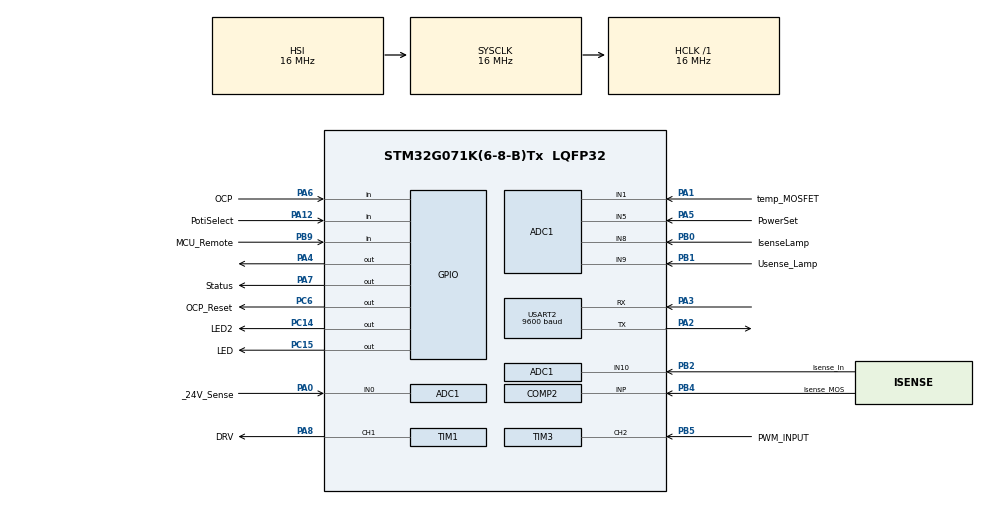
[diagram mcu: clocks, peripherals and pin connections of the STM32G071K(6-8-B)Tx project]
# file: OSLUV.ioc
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ADC1.Channel-0\#ChannelRegularConversion=ADC_CHANNEL_5
ADC1.Channel-1\#ChannelRegularConversion=ADC_CHANNEL_1
ADC1.Channel-2\#ChannelRegularConversion=ADC_CHANNEL_8
ADC1.Channel-3\#ChannelRegularConversion=ADC_CHANNEL_9
ADC1.Channel-4\#ChannelRegularConversion=ADC_CHANNEL_10
ADC1.Channel-5\#ChannelRegularConversion=ADC_CHANNEL_0
ADC1.ClockPrescaler=ADC_CLOCK_ASYNC_DIV10
ADC1.ContinuousConvMode=ENABLE
ADC1.DMAContinuousRequests=ENABLE
ADC1.ExternalTrigConv=ADC_EXTERNALTRIG_T6_TRGO
ADC1.NbrOfConversion=6
ADC1.NbrOfConversionFlag=1
ADC1.Rank-0\#ChannelRegularConversion=1
ADC1.Rank-1\#ChannelRegularConversion=2
ADC1.Rank-2\#ChannelRegularConversion=3
ADC1.Rank-3\#ChannelRegularConversion=4
ADC1.Rank-4\#ChannelRegularConversion=5
ADC1.Rank-5\#ChannelRegularConversion=6
ADC1.SamplingTime-0\#ChannelRegularConversion=ADC_SAMPLINGTIME_COMMON_1
ADC1.SamplingTime-1\#ChannelRegularConversion=ADC_SAMPLINGTIME_COMMON_1
ADC1.SamplingTime-2\#ChannelRegularConversion=ADC_SAMPLINGTIME_COMMON_1
ADC1.SamplingTime-3\#ChannelRegularConversion=ADC_SAMPLINGTIME_COMMON_1
ADC1.SamplingTime-4\#ChannelRegularConversion=ADC_SAMPLINGTIME_COMMON_1
ADC1.SamplingTime-5\#ChannelRegularConversion=ADC_SAMPLINGTIME_COMMON_1
ADC1.SamplingTimeCommon1=ADC_SAMPLETIME_39CYCLES_5
ADC1.SamplingTimeCommon2=ADC_SAMPLETIME_39CYCLES_5
ADC1.SelectedChannel=ADC_CHANNEL_0|ADC_CHANNEL_1|ADC_CHANNEL_5|ADC_CHANNEL_8|ADC_CHANNEL_9|ADC_CHANNEL_10
ADC1.master=1
DAC1.DAC_Channel-DAC_OUT1_Int=DAC_CHANNEL_1
Dma.ADC1.0.Direction=DMA_PERIPH_TO_MEMORY
Dma.ADC1.0.EventEnable=DISABLE
Dma.ADC1.0.Instance=DMA1_Channel1
Dma.ADC1.0.MemDataAlignment=DMA_MDATAALIGN_HALFWORD
Dma.ADC1.0.MemInc=DMA_MINC_ENABLE
Dma.ADC1.0.Mode=DMA_CIRCULAR
Dma.ADC1.0.PeriphDataAlignment=DMA_PDATAALIGN_HALFWORD
Dma.ADC1.0.PeriphInc=DMA_PINC_DISABLE
Dma.ADC1.0.Polarity=HAL_DMAMUX_REQ_GEN_RISING
Dma.ADC1.0.Priority=DMA_PRIORITY_LOW
Dma.ADC1.0.RequestNumber=1
Dma.ADC1.0.SignalID=NONE
Dma.ADC1.0.SyncEnable=DISABLE
Dma.ADC1.0.SyncPolarity=HAL_DMAMUX_SYNC_NO_EVENT
Dma.ADC1.0.SyncRequestNumber=1
Dma.ADC1.0.SyncSignalID=NONE
Dma.Request0=ADC1
Mcu.Family=STM32G0
Mcu.Name=STM32G071K(6-8-B)Tx
Mcu.Package=LQFP32
NVIC.ADC1_COMP_IRQn=true\:0\:0\:false\:true\:true\:2\:true\:true\:true
NVIC.DMA1_Channel1_IRQn=true\:0\:0\:false\:false\:true\:false\:true\:true
NVIC.TIM16_IRQn=true\:0\:0\:false\:false\:true\:true\:true\:true
NVIC.TIM3_IRQn=true\:0\:0\:false\:true\:true\:4\:true\:true\:true
NVIC.TIM6_DAC_LPTIM1_IRQn=true\:0\:0\:false\:true\:true\:1\:true\:true\:true
NVIC.USART2_IRQn=true\:0\:0\:false\:false\:true\:true\:true\:true
PA0.GPIO_Label=_24V_Sense
PA0.Mode=IN0
PA0.Signal=ADC1_IN0
PA1.GPIO_Label=temp_MOSFET
PA1.Mode=IN1
PA1.Signal=ADC1_IN1
PA12\ [PA10].GPIO_Label=PotiSelect
PA12\ [PA10].Signal=GPIO_Input
PA13.Mode=Serial_Wire
PA13.Signal=SYS_SWDIO
PA14-BOOT0.Mode=Serial_Wire
PA14-BOOT0.Signal=SYS_SWCLK
PA2.Mode=Asynchronous
PA2.Signal=USART2_TX
PA3.Mode=Asynchronous
PA3.Signal=USART2_RX
PA4.Signal=GPIO_Output
PA5.GPIO_Label=PowerSet
PA5.Mode=IN5
PA5.Signal=ADC1_IN5
PA6.GPIO_Label=OCP
PA6.Signal=GPIO_Input
PA7.GPIO_Label=Status
PA7.Signal=GPIO_Output
PA8.GPIO_Label=DRV
PA8.GPIO_Speed=GPIO_SPEED_FREQ_VERY_HIGH
PA8.Signal=S_TIM1_CH1
PB0.GPIO_Label=IsenseLamp
PB0.Mode=IN8
PB0.Signal=ADC1_IN8
PB1.GPIO_Label=Usense_Lamp
PB1.Mode=IN9
PB1.Signal=ADC1_IN9
PB2.GPIO_Label=Isense_In
PB2.Mode=IN10
PB2.Signal=ADC1_IN10
PB4.GPIO_Label=Isense_MOS
PB4.Mode=INP
PB4.Signal=COMP2_INP
PB5.GPIO_Label=PWM_INPUT
PB5.Signal=S_TIM3_CH2
PB9.GPIO_Label=MCU_Remote
PB9.GPIO_PuPd=GPIO_PULLUP
PB9.Signal=GPIO_Input
PC14-OSC32_IN\ (PC14).GPIO_Label=LED2
PC14-OSC32_IN\ (PC14).Signal=GPIO_Output
PC15-OSC32_OUT\ (PC15).GPIO_Label=LED
PC15-OSC32_OUT\ (PC15).PinState=GPIO_PIN_RESET
PC15-OSC32_OUT\ (PC15).Signal=GPIO_Output
PC6.GPIO_Label=OCP_Reset
PC6.Signal=GPIO_Output
ProjectManager.HeapSize=0x200
ProjectManager.StackSize=0x400
ProjectManager.TargetToolchain=STM32CubeIDE
RCC.ADCCLockSelection=RCC_ADCCLKSOURCE_PLLADC
RCC.ADCFreq_Value=16000000
RCC.AHBFreq_Value=16000000
RCC.CortexFreq_Value=16000000
RCC.EXTERNAL_CLOCK_VALUE=48000
RCC.HCLKFreq_Value=16000000
RCC.HSE_VALUE=8000000
RCC.HSI_VALUE=16000000
RCC.LSE_VALUE=32768
RCC.PLLP=RCC_PLLP_DIV8
RCC.PLLQ=RCC_PLLQ_DIV8
RCC.SYSCLKFreq_VALUE=16000000
RCC.VCOOutputFreq_Value=128000000
SH.S_TIM1_CH1.0=TIM1_CH1,PWM Generation1 CH1
SH.S_TIM3_CH2.0=TIM3_CH2,PWM_Input_2
TIM1.AutoReloadPreload=TIM_AUTORELOAD_PRELOAD_ENABLE
TIM1.Channel-PWM\ Generation1\ CH1=TIM_CHANNEL_1
TIM1.ClearChannel1=TIM_CHANNEL_1
TIM1.ClearInputSource=TIM_CLEARINPUTSOURCE_COMP2
TIM1.Period=320
TIM16.Period=65535
TIM3.ICPolarity_1=TIM_INPUTCHANNELPOLARITY_FALLING
TIM6.Period=1000
TIM6.Prescaler=16
TIM6.TIM_MasterOutputTrigger=TIM_TRGO_UPDATE
USART2.BaudRate=9600
USART2.VirtualMode-Asynchronous=VM_ASYNC
VP_COMP2_VS_DACOUT1.Mode=INM_DACOUT1
VP_DAC1_VS_DACI1.Mode=DAC_OUT1_Int
VP_TIM16_VS_ClockSourceINT.Mode=Enable_Timer
VP_TIM6_VS_ClockSourceINT.Mode=Enable_Timer
board=custom

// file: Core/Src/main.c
/* USER CODE BEGIN Header */
/**
 ******************************************************************************
 * @file           : main.c
 * @brief          : Main program body
 ******************************************************************************
 * @attention
 *
 * Copyright (c) 2025 STMicroelectronics.
 * All rights reserved.
 *
 * This software is licensed under terms that can be found in the LICENSE file
 * in the root directory of this software component.
 * If no LICENSE file comes with this software, it is provided AS-IS.
 *
 ******************************************************************************
 */
/* USER CODE END Header */
#include "main.h"

/* USER CODE BEGIN Includes */
#include "globals.h" // global variables
#include "eeprom_emul.h" // store dim variable to flash
#include "stdlib.h"
#include "stdio.h"
#include "string.h"

/* USER CODE END Includes */

/* USER CODE BEGIN PD */
#define enableUART 1
#define RX_BUFFER_SIZE 10
#define FREQ_MIN 10
#define FREQ_MAX 200
#define ARR_MAX 1000
#define ARR_MIN 60
#define CCR_MAX 80
#define CCR_MIN 20
#define PC_MAX 530
#define PC_MIN 250
#define TMR_COUNTER 16000
#define UART_DELAY 10
#define POWER_MIN 10
#define POWER_MAX 105

#define MIN_IGNITION_TIME 1000 // 1000 ms
#define maxIgnitionTime 2000 // 2000 ms
#define ULAMP_MAX 1100 // for open circuit detection / not used
#define ILAMP_IGNITED 600 //

#define UPPER_24VSUPPLY 3160 // 27V
#define LOWER_24VSUPPLY 2080 // 18V
#define USBC_SUPPLY 2500 // 21 V
#define UPPER_TEMP_MOSFET 500 // 400 mV = ca. 75 °C
#define UPPER_I_IN 2600

#define FOSC 16000 // 16 MHz
#define ditherRange_kHz 20 // 10 kHz

#define dutyIgnStart 60
#define DUTY_IGN_MAX 110 // 5.5 kV
#define ignAmpltiudeStep 16

#define primInductance 20
#define peakCurrentControl 1
#define freqDithering 0

#define STORE_DIM 1

/* USER CODE END PD */

ADC_HandleTypeDef hadc1;
DMA_HandleTypeDef hdma_adc1;

COMP_HandleTypeDef hcomp2;

DAC_HandleTypeDef hdac1;

TIM_HandleTypeDef htim1;
TIM_HandleTypeDef htim3;
TIM_HandleTypeDef htim6;
TIM_HandleTypeDef htim16;

UART_HandleTypeDef huart2;

/* USER CODE BEGIN PV */
typedef enum {INIT, RUN, IGNITE, IGN_FAIL, ERROR_state } system_state_t;
static system_state_t state =  INIT;
static system_state_t lastState =  ERROR_state;

//enum States {INIT, RUN, IGNITE, IGN_FAIL, ERROR_state};

volatile uint32_t arr_buffer;

//
volatile uint8_t interrupt1msState_flag = 0;

volatile uint16_t ignFrequency = 320; // 58 kHz
volatile uint16_t operationFrequency = 0;
volatile uint16_t operationFrequencyARR = 0; // 100 kHz // 164
volatile uint16_t operationFrequencyARR_raw = 160; //190 / 160 / 135 / 97 valley
volatile uint16_t currentFrequency = 0;
volatile uint16_t dac_IsenseMOS_ign = 1000; // current setpoint for ignition = off

volatile uint16_t dutyIgn;
volatile uint16_t dac_IsenseMOS; // current setpoint for COMP2 in- for closed loop
volatile uint16_t chargeTimeOperation; // duty cycle for operation open loop, optimized 78 für 26 uH, 80 für 33u

volatile uint16_t externalPowerSetDuty = 0;
volatile uint16_t externalPowerSetDutyCalc = 0;

char uart_rx_buffer[RX_BUFFER_SIZE];
char uart_rx_buffer_stripped[RX_BUFFER_SIZE];
uint8_t uart_index = 0;
uint8_t uart_rx_byte;
char msg[60];

int value = 0;
uint8_t uartEnableFlag = 1;
uint8_t powerLevel = 100; // linear dimming steps: 100 = full power, 15 = 15% power
uint32_t potiPowerLevel = 100;
// power setting by frequency control 0 - 105%, minimal power is 15% = 20 kHz
uint16_t freqPowerSetting[106] = { 1146, 1146, 1146, 1146, 1146, 1146, 1146,
		1146, 1146, 1146, 1065, 995, 934, 879, 831, 788, 750, 715, 683, 654,
		627, 603, 580, 559, 540, 522, 505, 489, 474, 460, 447, 435, 423, 412,
		402, 392, 382, 374, 365, 357, 349, 342, 335, 328, 321, 315, 309, 303,
		298, 293, 287, 283, 278, 273, 269, 265, 260, 256, 253, 249, 245, 242,
		238, 235, 232, 229, 226, 223, 220, 217, 214, 212, 209, 207, 204, 202,
		200, 197, 195, 193, 191, 189, 187, 185, 183, 181, 179, 178, 176, 174,
		172, 171, 169, 168, 166, 165, 163, 162, 160, 159, 158, 156, 155, 154,
		152, 151 };

uint16_t ignitionCounter = 0;
uint8_t ignitionFinishedFlag = 0;
uint16_t ignAmplitudeCounter = 0;
uint8_t lampOnFlag = 0;
uint16_t dutyIgnMax = DUTY_IGN_MAX;

uint16_t adc_uSenseLampIgnited = 1800;

uint16_t delayFailedIgnitionShort = 3000;
uint16_t delayFailedIgnitionLong = 30000;
uint16_t delayFailedIgnitionSelected = 0;
uint16_t failedIgnitionCounter = 0;
uint8_t maxIgnitionAttempts = 16;
uint16_t pauseIgnitionCounter = 0;

uint16_t adc_uSenseLampOpenCircuit = 2300;
uint8_t lampOCFlag = 0;

uint8_t i_ADCchannels = 0;

uint16_t ditherCounter = 0;
uint8_t ditherMode = freqDithering;

uint8_t storeDim_flag = STORE_DIM;

/* USER CODE END PV */

void SystemClock_Config(void);
static void MX_GPIO_Init(void);
static void MX_DMA_Init(void);
static void MX_ADC1_Init(void);
static void MX_COMP2_Init(void);
static void MX_DAC1_Init(void);
static void MX_TIM1_Init(void);
static void MX_TIM3_Init(void);
static void MX_TIM16_Init(void);
static void MX_USART2_UART_Init(void);
static void MX_TIM6_Init(void);
static void MX_NVIC_Init(void);

/* USER CODE BEGIN 0 */

void changeFrequency(uint16_t powerSettingRaw) {
	uint16_t powerSetting = 0;

	if (powerSettingRaw < POWER_MIN) {
		powerSetting = POWER_MIN;
	} else if (powerSettingRaw > POWER_MAX) {
		powerSetting = POWER_MAX;
	} else
		powerSetting = powerSettingRaw;

	operationFrequencyARR_raw = freqPowerSetting[powerSetting];

	return;
}

void HAL_UART_RxCpltCallback(UART_HandleTypeDef *huart) {

	if (huart->Instance == USART2) {

		if (uart_rx_byte == '\n' || uart_rx_byte == '\r')  // End of input
		{
			uart_rx_buffer[uart_index] = '\0';

			char cmd = uart_rx_buffer[0];
			char *dataPtr = &uart_rx_buffer[1];
			switch (cmd) {
			case 'F': // Change frequency
				if (*dataPtr == '?') { //report frequency
					operationFrequency =
							(uint16_t) ((TMR_COUNTER + operationFrequencyARR / 2)
									/ operationFrequencyARR);
					snprintf(msg, sizeof(msg), "Freq:%d kHz ARR:%d\r\n",
							operationFrequency, operationFrequencyARR_raw);
					HAL_UART_Transmit(&huart2, (uint8_t*) msg, strlen(msg),
							UART_DELAY);
				} else {
					value = atoi(dataPtr);
					if (value >= FREQ_MIN && value <= FREQ_MAX) { // limit frequency to between 10 - 120 kHz
						operationFrequencyARR_raw = (uint16_t) ((TMR_COUNTER
								+ value / 2) / value);
						snprintf(msg, sizeof(msg), "Freq:%d kHz ARR:%d\r\n",
								value, operationFrequencyARR_raw);
						HAL_UART_Transmit(&huart2, (uint8_t*) msg, strlen(msg),
								UART_DELAY);
					}
				}
				break;

			case 'O': // Change frequency dither mode
				if (*dataPtr == '?') { //report dither mode
					snprintf(msg, sizeof(msg), "Dither Mode: %d\r\n",
							ditherMode);
					HAL_UART_Transmit(&huart2, (uint8_t*) msg, strlen(msg),
							UART_DELAY);
				} else {
					value = atoi(dataPtr);
					if (value < 2) {
						ditherMode = value;
					}
				}
				break;

			case 'A': // Change ARR directly -> frequency
				if (*dataPtr == '?') { //report ARR value
					operationFrequency =
							(uint16_t) ((TMR_COUNTER + operationFrequencyARR / 2)
									/ operationFrequencyARR);
					snprintf(msg, sizeof(msg), "ARR: %d Freq: %d\r\n",
							operationFrequencyARR_raw, operationFrequency);
					HAL_UART_Transmit(&huart2, (uint8_t*) msg, strlen(msg),
							UART_DELAY);
				} else {
					value = atoi(dataPtr);
					if (value >= ARR_MIN && value <= ARR_MAX) { // limit frequency to between 10 - 120 kHz
						operationFrequencyARR_raw = value;
						snprintf(msg, sizeof(msg), "ARR: %d Freq: %d\r\n",
								value, operationFrequencyARR_raw);
						HAL_UART_Transmit(&huart2, (uint8_t*) msg, strlen(msg),
								UART_DELAY);
					}
				}
				break;

			case 'C': // change CCR -> charge time
				if (*dataPtr == '?') { //report CCR value
					snprintf(msg, sizeof(msg), "Charge: %d\r\n",
							chargeTimeOperation);
					HAL_UART_Transmit(&huart2, (uint8_t*) msg, strlen(msg),
							UART_DELAY);
				} else {
					value = atoi(dataPtr);
					if (value >= CCR_MIN && value <= CCR_MAX) { // limit charge time to between 3 - 5 µs
						chargeTimeOperation = value;
						snprintf(msg, sizeof(msg), "Charge: %d\r\n",
								chargeTimeOperation);
						HAL_UART_Transmit(&huart2, (uint8_t*) msg, strlen(msg),
								UART_DELAY);
					}
				}
				break;

			case 'I': // change current limit
				if (*dataPtr == '?') { //report current limit
					snprintf(msg, sizeof(msg), "Peak current: %d\r\n",
							dac_IsenseMOS);
					HAL_UART_Transmit(&huart2, (uint8_t*) msg, strlen(msg),
							UART_DELAY);
				} else {
					value = atoi(dataPtr);
					if (value >= PC_MIN && value <= PC_MAX) { // limit peak current
						dac_IsenseMOS = value;
						snprintf(msg, sizeof(msg), "Peak current: %d\r\n",
								value);
						HAL_UART_Transmit(&huart2, (uint8_t*) msg, strlen(msg),
								UART_DELAY);
					}
				}
				break;

			case 'D': // report ADC DATA
				snprintf(msg, sizeof(msg),
						"Ui %04d, T %04d, Ul %04d, Il %04d, Ii %04d, P %04d\r\n",
						adc_24V, adc_tempMOSFET, adc_uSenseLamp, adc_iSenseLamp,
						adc_iSenseIn, adc_PowerSet);
				HAL_UART_Transmit(&huart2, (uint8_t*) msg, strlen(msg),
						UART_DELAY);
				break;

			case 'T': // report TIMER data
				value = (uint16_t) ((TMR_COUNTER + operationFrequencyARR / 2)
						/ operationFrequencyARR);
				snprintf(msg, sizeof(msg),
						"F: %d kHz, ARR: %d, CCR: %d, PeakCur: %d\r\n", value,
						operationFrequencyARR, chargeTimeOperation,
						dac_IsenseMOS);
				HAL_UART_Transmit(&huart2, (uint8_t*) msg, strlen(msg),
						UART_DELAY);
				break;

			case 'X': // report external PWM data

				snprintf(msg, sizeof(msg), "RE: %u , FE: %u, duty: %u \r\n",
						risingEdge, fallingEdge, externalPowerSetDuty);
				HAL_UART_Transmit(&huart2, (uint8_t*) msg, strlen(msg),
						UART_DELAY);
				break;

			case 'E':  // On / OFF
				if (*dataPtr == '?') { //report on/off value
					snprintf(msg, sizeof(msg), "Enable: %d\r\n",
							uartEnableFlag);
					HAL_UART_Transmit(&huart2, (uint8_t*) msg, strlen(msg),
							UART_DELAY);
				} else {
					value = atoi(dataPtr);
					if ((value < 2) && (value >= 0)) {
						uartEnableFlag = value;
					}
				}
				break;

			case 'P':   // dimming levels
				if (*dataPtr == '?') { // report dimming level
					snprintf(msg, sizeof(msg), "Set: %d percent\r\n",
							powerLevel);
					HAL_UART_Transmit(&huart2, (uint8_t*) msg, strlen(msg),
							UART_DELAY);
				}

				else {
					powerLevel = atoi(dataPtr);
					if ((powerLevel >= POWER_MIN)
							&& (powerLevel <= POWER_MAX)) {
						changeFrequency(powerLevel);
						if (storeDim_flag) {
							EEPROM_Write(powerLevel); // store data to flash
						}
						snprintf(msg, sizeof(msg), "Set: %d percent\r\n",
								powerLevel);
						HAL_UART_Transmit(&huart2, (uint8_t*) msg, strlen(msg),
								UART_DELAY);
					} else {
						snprintf(msg, sizeof(msg), "Out of range!\r\n");
						HAL_UART_Transmit(&huart2, (uint8_t*) msg, strlen(msg),
								UART_DELAY);
					}
				}
				break;

			default:
				snprintf(msg, sizeof(msg), "Wrong Command!\r\n");
				HAL_UART_Transmit(&huart2, (uint8_t*) msg, strlen(msg),
						UART_DELAY);
				break;

			}

			uart_index = 0;
		} else {
			if (uart_index < RX_BUFFER_SIZE - 1) {
				uart_rx_buffer[uart_index++] = uart_rx_byte;
			}
		}
		HAL_UART_Receive_IT(&huart2, &uart_rx_byte, 1);
	}
}

/* USER CODE END 0 */

int main(void) {

	/* USER CODE BEGIN 1 */
	//
	/* USER CODE END 1 */

	/* MCU Configuration--------------------------------------------------------*/

	/* Reset of all peripherals, Initializes the Flash interface and the Systick. */
	HAL_Init();

	/* USER CODE BEGIN Init */

	if (primInductance == 26) {
		dutyIgn = dutyIgnStart;
		dac_IsenseMOS = 423;
		chargeTimeOperation = 68;
	} else if (primInductance == 15) {
		dutyIgn = dutyIgnStart;
		dac_IsenseMOS = 525; // 530
		chargeTimeOperation = 49;
	} else if (primInductance == 20) {
		dutyIgn = dutyIgnStart;
		dac_IsenseMOS = 420; // 490 / 420 / 380 /323 valley
		chargeTimeOperation = 60;
	}

	if (peakCurrentControl) {
		chargeTimeOperation = chargeTimeOperation + 5; // used as fall-back for maximum limiting
	} else {
		dac_IsenseMOS = dac_IsenseMOS + 100; // used as fall-back for maximum limiting
	}

	/* USER CODE END Init */

	/* Configure the system clock */
	SystemClock_Config();

	/* Initialize all configured peripherals */
	MX_GPIO_Init();
	MX_DMA_Init();
	MX_ADC1_Init();
	MX_COMP2_Init();
	MX_DAC1_Init();
	MX_TIM1_Init();
	MX_TIM3_Init();
	MX_TIM16_Init();
	MX_USART2_UART_Init();
	MX_TIM6_Init();

	/* Initialize interrupts */
	MX_NVIC_Init();
	/* USER CODE BEGIN 2 */

	// synchronous timing interrupts
	TIM6->ARR = 1000;
	HAL_TIM_Base_Start_IT(&htim6);

	// DRV PWM output
	TIM1->CCMR1 |= TIM_CCMR1_OC1CE; // enable OCREF clear
	TIM1->CR1 |= TIM_CR1_ARPE; // auto-reload preload
	HAL_TIM_PWM_Start(&htim1, TIM_CHANNEL_1); // start PWM
	__HAL_TIM_MOE_ENABLE(&htim1); //master enable

	// Start DAC
	HAL_DAC_Start(&hdac1, DAC_CHANNEL_1); // DAC for current setpoint (intput to Comp2 in-)
	HAL_DAC_SetValue(&hdac1, DAC_CHANNEL_1, DAC_ALIGN_12B_R, dac_IsenseMOS_ign); // disable current limit for init
	HAL_COMP_Start(&hcomp2); // start comparator for peak current control

	// Start ADC
	HAL_ADC_Start_DMA(&hadc1, (uint32_t*) adc_DMA, numberADCchannels); // start ADC with DMA, 6 channels
	/*
	 * 0 = Ch0: 24V
	 * 1 = Ch1: Temperature MOSFET
	 * 2 = Ch3: Usense_Lamp
	 * 3 = Ch8: Isense_Lamp
	 * 4 = Ch10: Isense_In
	 */

	HAL_UART_Receive_IT(&huart2, &uart_rx_byte, 1);

	// TIM3 for input capture - read PWM for power setting.
	HAL_TIM_IC_Start_IT(&htim3, TIM_CHANNEL_2); // Primary channel - rising edge
	HAL_TIM_IC_Start(&htim3, TIM_CHANNEL_1); // Secondary channel - falling edge

	// load power level from flash:
	if (storeDim_flag) {
		powerLevel = EEPROM_Read();
		if (powerLevel == 0xFFFF) { // missing data. Assume full power.
			powerLevel = 100;
		}
	}

	// blink LED
	HAL_GPIO_TogglePin(GPIOC, GPIO_PIN_15);
	HAL_Delay(200);
	HAL_GPIO_TogglePin(GPIOC, GPIO_PIN_15);
	HAL_Delay(200);
	HAL_GPIO_TogglePin(GPIOC, GPIO_PIN_15);
	HAL_Delay(200);
	HAL_GPIO_TogglePin(GPIOC, GPIO_PIN_15);

	// set power
	changeFrequency(powerLevel);

	// increase limits for 20V USB-C operation.
	//if (adc_24V>LOWER_24VSUPPLY&&adc_24V<USBC_SUPPLY) {
	//chargeTimeOperation = chargeTimeOperation + 10;
	//dutyIgnMax = dutyIgnMax + 10;
	//}

	/* USER CODE END 2 */

	/* Infinite loop */
	while (1) {

		/* USER CODE BEGIN 3 */

		// ------------ Interrupts -----------------------
		// interrupt 100 Hz for external PWM read
		if (tim6_slowIrq_request) {
			if (risingEdge > 0) { // .. if external PWM method is used
				externalPowerSetDuty = (uint32_t) (fallingEdge * 100
						/ risingEdge) + 1;
				if (externalPowerSetDuty < POWER_MIN) {
					uartEnableFlag = 0; // turn off if zero
				} else {
					uartEnableFlag = 1; // turn on for all other values
					changeFrequency(externalPowerSetDuty);
				}

			}

			/*
			if (HAL_GPIO_ReadPin(GPIOA, GPIO_PIN_12)) { // Poti mode
				potiPowerLevel = (adc_PowerSet * 100) / 4095;
				changeFrequency(potiPowerLevel);
			}
			*/

			tim6_slowIrq_request = 0;
		}

		// interrupt  1 kHz
		if (tim6_irq_request) {

			interrupt1msState_flag = 1; // interrupt flag for timed state execution

			// Frequency dithering
			if (ditherMode) {
				currentFrequency = (uint16_t) (FOSC / operationFrequencyARR_raw
						- ditherRange_kHz / 2 + ditherCounter);
				operationFrequencyARR = (uint16_t) (FOSC / currentFrequency);
				if (ditherCounter > ditherRange_kHz + 1) {
					ditherCounter = 0;
				} else {
					ditherCounter++;
				}
			} else { // no dithering
				operationFrequencyARR = operationFrequencyARR_raw;
			}

			// Check enable flag
			enableFlag = !HAL_GPIO_ReadPin(GPIOB, GPIO_PIN_9) && uartEnableFlag; //pull low for enabling

			// *** checked in all states, lower priority ***

			// check supply voltage
			supplyOKFlag = 1;
			if ((adc_24V < UPPER_24VSUPPLY) && (adc_24V > LOWER_24VSUPPLY)) {
				supplyOKFlag = 1;
			} else {
				supplyOKFlag = 0;
			}
			// check temperature

			if (adc_tempMOSFET > UPPER_TEMP_MOSFET) {
				OT_flag = 1;
			} else {
				OT_flag = 0;
			}

			// check input current
			if (adc_iSenseIn > UPPER_I_IN) {
				OCPinFlag = 1;
			} else {
				OCPinFlag = 0;
			}

			tim6_irq_request = 0; // reset interrupt

		}

		// check in all states - high priority
		if (!enableFlag) {
			state = INIT;
		}

		// ------------ ASM -----------------------
		switch (state) {
		case INIT:
			// init code
			ignitionFinishedFlag = 0;
			lampOnFlag = 0;
			ignitionCounter = 0;
			dutyIgn = dutyIgnStart;
			HAL_GPIO_WritePin(GPIOC, GPIO_PIN_15, GPIO_PIN_RESET); // status LED
			HAL_GPIO_WritePin(GPIOA, GPIO_PIN_4, GPIO_PIN_RESET); // UV LED

			// set DRV to zero
			__HAL_TIM_SET_COMPARE(&htim1, TIM_CHANNEL_1, 0);
			TIM1->ARR = ignFrequency;

			// exit conditions
			if (enableFlag && supplyOKFlag && !OT_flag) {
				//snprintf(msg, sizeof(msg), "IGNITE\r\n");
				//HAL_UART_Transmit(&huart2, (uint8_t*)msg, strlen(msg), UART_DELAY);
				state = IGNITE;
			}
			break;

		case IGNITE:
			// entry
			if (state != lastState) {
				HAL_GPIO_WritePin(GPIOC, GPIO_PIN_15, GPIO_PIN_RESET); // disable Status LED
				HAL_DAC_SetValue(&hdac1, DAC_CHANNEL_1, DAC_ALIGN_12B_R, dac_IsenseMOS_ign); // disable current limit for init
				HAL_GPIO_WritePin(GPIOA, GPIO_PIN_4, GPIO_PIN_SET); // enable UV-LED
				HAL_GPIO_WritePin(GPIOC, GPIO_PIN_14, GPIO_PIN_SET); // enable Status2 LED
				TIM1->ARR = ignFrequency;
				lastState = state;
			}

			// ignition mode for two seconds
			if (ignitionCounter < maxIgnitionTime) { // try ignition

				if (interrupt1msState_flag) { // timed execution 1 kHz
					__HAL_TIM_SET_COMPARE(&htim1, TIM_CHANNEL_1, dutyIgn); // high energy ignition
					// check ignition

					ignitionCounter++;
					// dynamic ignition mode
					if (!lampOnFlag && dutyIgn < dutyIgnMax) { // ignition voltage is ramped up until lamp ignited or max value reached
						ignAmplitudeCounter++;
						if (ignAmplitudeCounter > ignAmpltiudeStep) {
							ignAmplitudeCounter = 0;
							dutyIgn++; // increase ignition voltage amplitude
						}
					}
					interrupt1msState_flag = 0; // reset interrupt flag
				}

				if (adc_iSenseLamp > ILAMP_IGNITED) {
					lampOnFlag = 1;
				}

				// exit ignition successful
				if (adc_iSenseLamp > ILAMP_IGNITED && ignitionCounter > MIN_IGNITION_TIME) { // minimum ignition time 1000 ms
					HAL_GPIO_WritePin(GPIOA, GPIO_PIN_4, GPIO_PIN_RESET); // disable UV-LED
					ignitionFinishedFlag = 1;
					//snprintf(msg, sizeof(msg), "RUN\r\n");
					//HAL_UART_Transmit(&huart2, (uint8_t*)msg, strlen(msg), UART_DELAY);
					state = RUN;
				}

			} else { // ignition failed
				state = IGN_FAIL;
			}
			break;

		case IGN_FAIL:
			// ignition pattern: 4 attempts with 3 sec. break, then 30 sec. break
			// this pattern is repeated 4 times.

			// entry
			if (state != lastState) {
				ignitionFinishedFlag = 0;
				failedIgnitionCounter++;
				//snprintf(msg, sizeof(msg), "IGNITION FAIL\r\n");
				//HAL_UART_Transmit(&huart2, (uint8_t*)msg, strlen(msg), UART_DELAY);
				HAL_GPIO_WritePin(GPIOA, GPIO_PIN_4, GPIO_PIN_RESET); // disable UV-LED
				__HAL_TIM_SET_COMPARE(&htim1, TIM_CHANNEL_1, 0); // off
				HAL_GPIO_TogglePin(GPIOC, GPIO_PIN_15);
				HAL_Delay(100);
				HAL_GPIO_TogglePin(GPIOC, GPIO_PIN_15);
				HAL_Delay(100);
				HAL_GPIO_TogglePin(GPIOC, GPIO_PIN_15);
				HAL_Delay(100);
				HAL_GPIO_TogglePin(GPIOC, GPIO_PIN_15);
				HAL_GPIO_WritePin(GPIOC, GPIO_PIN_14, GPIO_PIN_RESET); // disable Status2 LED
				lastState = state;
			}

			if (failedIgnitionCounter > maxIgnitionAttempts) {
				state = ERROR_state;
			} else {
				if (interrupt1msState_flag) { // timed execution 1kHz
					if (failedIgnitionCounter%4 == 0) {
						delayFailedIgnitionSelected = delayFailedIgnitionLong; // every 4 attamptes, wait 30 sec. and restart
					} else {
						delayFailedIgnitionSelected = delayFailedIgnitionShort; // else, 3 sec. break
					}
					if(pauseIgnitionCounter<delayFailedIgnitionSelected) {
						pauseIgnitionCounter++;
					} else {
						pauseIgnitionCounter = 0;
						state = INIT;
					}

					interrupt1msState_flag = 0; // reset interrupt flag
				}
			}

			break;

		case RUN:

			// RUN code
			HAL_GPIO_WritePin(GPIOC, GPIO_PIN_15, GPIO_PIN_SET); // enable status LED
			HAL_GPIO_WritePin(GPIOC, GPIO_PIN_14, GPIO_PIN_RESET); // disable Status2 LED
			TIM1->ARR = operationFrequencyARR;
			__HAL_TIM_SET_COMPARE(&htim1, TIM_CHANNEL_1, chargeTimeOperation); // chargingTime setpoint
			HAL_DAC_SetValue(&hdac1, DAC_CHANNEL_1, DAC_ALIGN_12B_R,
					dac_IsenseMOS); // set current limiting value

			// exit conditions

			if (enableFlag == 0 || supplyOKFlag == 0) {
				state = INIT;
			}

			/*if (OT_flag || errorFlag || (adc_uSenseLamp>adc_uSenseLampOpenCircuit)) {
			 state = ERROR_state;
			 }*/
			if (OT_flag) {
				state = INIT;
			}

			break;
		case ERROR_state:

			// ERROR code
			// set DRV to zero
			__HAL_TIM_SET_COMPARE(&htim1, TIM_CHANNEL_1, 0);
			//snprintf(msg, sizeof(msg), "ERROR\r\n");
			//HAL_UART_Transmit(&huart2, (uint8_t*)msg, strlen(msg), UART_DELAY);

			// communicate error (blink LED, UART)
			HAL_GPIO_TogglePin(GPIOC, GPIO_PIN_14); // red LED
			HAL_Delay(1000);
			// no exit conditions, only power cycle
			break;
		}

	}

	/* USER CODE END 3 */
}

void SystemClock_Config(void) {
	RCC_OscInitTypeDef RCC_OscInitStruct = { 0 };
	RCC_ClkInitTypeDef RCC_ClkInitStruct = { 0 };

	/** Configure the main internal regulator output voltage
	 */
	HAL_PWREx_ControlVoltageScaling(PWR_REGULATOR_VOLTAGE_SCALE1);

	/** Initializes the RCC Oscillators according to the specified parameters
	 * in the RCC_OscInitTypeDef structure.
	 */
	RCC_OscInitStruct.OscillatorType = RCC_OSCILLATORTYPE_HSI;
	RCC_OscInitStruct.HSIState = RCC_HSI_ON;
	RCC_OscInitStruct.HSIDiv = RCC_HSI_DIV1;
	RCC_OscInitStruct.HSICalibrationValue = RCC_HSICALIBRATION_DEFAULT;
	RCC_OscInitStruct.PLL.PLLState = RCC_PLL_ON;
	RCC_OscInitStruct.PLL.PLLSource = RCC_PLLSOURCE_HSI;
	RCC_OscInitStruct.PLL.PLLM = RCC_PLLM_DIV1;
	RCC_OscInitStruct.PLL.PLLN = 8;
	RCC_OscInitStruct.PLL.PLLP = RCC_PLLP_DIV8;
	RCC_OscInitStruct.PLL.PLLQ = RCC_PLLQ_DIV8;
	RCC_OscInitStruct.PLL.PLLR = RCC_PLLR_DIV2;
	if (HAL_RCC_OscConfig(&RCC_OscInitStruct) != HAL_OK) {
		Error_Handler();
	}

	/** Initializes the CPU, AHB and APB buses clocks
	 */
	RCC_ClkInitStruct.ClockType = RCC_CLOCKTYPE_HCLK | RCC_CLOCKTYPE_SYSCLK
			| RCC_CLOCKTYPE_PCLK1;
	RCC_ClkInitStruct.SYSCLKSource = RCC_SYSCLKSOURCE_HSI;
	RCC_ClkInitStruct.AHBCLKDivider = RCC_SYSCLK_DIV1;
	RCC_ClkInitStruct.APB1CLKDivider = RCC_HCLK_DIV1;

	if (HAL_RCC_ClockConfig(&RCC_ClkInitStruct, FLASH_LATENCY_0) != HAL_OK) {
		Error_Handler();
	}
}

/**
 * @brief NVIC Configuration.
 * @retval None
 */
static void MX_NVIC_Init(void) {
	/* TIM6_DAC_LPTIM1_IRQn interrupt configuration */
	HAL_NVIC_SetPriority(TIM6_DAC_LPTIM1_IRQn, 0, 0);
	HAL_NVIC_EnableIRQ(TIM6_DAC_LPTIM1_IRQn);
	/* ADC1_COMP_IRQn interrupt configuration */
	HAL_NVIC_SetPriority(ADC1_COMP_IRQn, 0, 0);
	HAL_NVIC_EnableIRQ(ADC1_COMP_IRQn);
	/* TIM3_IRQn interrupt configuration */
	HAL_NVIC_SetPriority(TIM3_IRQn, 0, 0);
	HAL_NVIC_EnableIRQ(TIM3_IRQn);
}

static void MX_ADC1_Init(void) {

	ADC_ChannelConfTypeDef sConfig = { 0 };

	/** Configure the global features of the ADC (Clock, Resolution, Data Alignment and number of conversion)
	 */
	hadc1.Instance = ADC1;
	hadc1.Init.ClockPrescaler = ADC_CLOCK_ASYNC_DIV10;
	hadc1.Init.Resolution = ADC_RESOLUTION_12B;
	hadc1.Init.DataAlign = ADC_DATAALIGN_RIGHT;
	hadc1.Init.ScanConvMode = ADC_SCAN_ENABLE;
	hadc1.Init.EOCSelection = ADC_EOC_SINGLE_CONV;
	hadc1.Init.LowPowerAutoWait = DISABLE;
	hadc1.Init.LowPowerAutoPowerOff = DISABLE;
	hadc1.Init.ContinuousConvMode = ENABLE;
	hadc1.Init.NbrOfConversion = 6;
	hadc1.Init.ExternalTrigConv = ADC_EXTERNALTRIG_T6_TRGO;
	hadc1.Init.ExternalTrigConvEdge = ADC_EXTERNALTRIGCONVEDGE_RISING;
	hadc1.Init.DMAContinuousRequests = ENABLE;
	hadc1.Init.Overrun = ADC_OVR_DATA_PRESERVED;
	hadc1.Init.SamplingTimeCommon1 = ADC_SAMPLETIME_39CYCLES_5;
	hadc1.Init.SamplingTimeCommon2 = ADC_SAMPLETIME_39CYCLES_5;
	hadc1.Init.OversamplingMode = DISABLE;
	hadc1.Init.TriggerFrequencyMode = ADC_TRIGGER_FREQ_HIGH;
	if (HAL_ADC_Init(&hadc1) != HAL_OK) {
		Error_Handler();
	}

	/** Configure Regular Channel
	 */
	sConfig.Channel = ADC_CHANNEL_5;
	sConfig.Rank = ADC_REGULAR_RANK_1;
	sConfig.SamplingTime = ADC_SAMPLINGTIME_COMMON_1;
	if (HAL_ADC_ConfigChannel(&hadc1, &sConfig) != HAL_OK) {
		Error_Handler();
	}

	/** Configure Regular Channel
	 */
	sConfig.Channel = ADC_CHANNEL_1;
	sConfig.Rank = ADC_REGULAR_RANK_2;
	if (HAL_ADC_ConfigChannel(&hadc1, &sConfig) != HAL_OK) {
		Error_Handler();
	}

	/** Configure Regular Channel
	 */
	sConfig.Channel = ADC_CHANNEL_8;
	sConfig.Rank = ADC_REGULAR_RANK_3;
	if (HAL_ADC_ConfigChannel(&hadc1, &sConfig) != HAL_OK) {
		Error_Handler();
	}

	/** Configure Regular Channel
	 */
	sConfig.Channel = ADC_CHANNEL_9;
	sConfig.Rank = ADC_REGULAR_RANK_4;
	if (HAL_ADC_ConfigChannel(&hadc1, &sConfig) != HAL_OK) {
		Error_Handler();
	}

	/** Configure Regular Channel
	 */
	sConfig.Channel = ADC_CHANNEL_10;
	sConfig.Rank = ADC_REGULAR_RANK_5;
	if (HAL_ADC_ConfigChannel(&hadc1, &sConfig) != HAL_OK) {
		Error_Handler();
	}

	/** Configure Regular Channel
	 */
	sConfig.Channel = ADC_CHANNEL_0;
	sConfig.Rank = ADC_REGULAR_RANK_6;
	if (HAL_ADC_ConfigChannel(&hadc1, &sConfig) != HAL_OK) {
		Error_Handler();
	}

}

static void MX_COMP2_Init(void) {

	hcomp2.Instance = COMP2;
	hcomp2.Init.InputPlus = COMP_INPUT_PLUS_IO1;
	hcomp2.Init.InputMinus = COMP_INPUT_MINUS_DAC1_CH1;
	hcomp2.Init.OutputPol = COMP_OUTPUTPOL_NONINVERTED;
	hcomp2.Init.WindowOutput = COMP_WINDOWOUTPUT_EACH_COMP;
	hcomp2.Init.Hysteresis = COMP_HYSTERESIS_NONE;
	hcomp2.Init.BlankingSrce = COMP_BLANKINGSRC_NONE;
	hcomp2.Init.Mode = COMP_POWERMODE_HIGHSPEED;
	hcomp2.Init.WindowMode = COMP_WINDOWMODE_DISABLE;
	hcomp2.Init.TriggerMode = COMP_TRIGGERMODE_NONE;
	if (HAL_COMP_Init(&hcomp2) != HAL_OK) {
		Error_Handler();
	}

}

static void MX_DAC1_Init(void) {

	DAC_ChannelConfTypeDef sConfig = { 0 };

	/** DAC Initialization
	 */
	hdac1.Instance = DAC1;
	if (HAL_DAC_Init(&hdac1) != HAL_OK) {
		Error_Handler();
	}

	/** DAC channel OUT1 config
	 */
	sConfig.DAC_SampleAndHold = DAC_SAMPLEANDHOLD_DISABLE;
	sConfig.DAC_Trigger = DAC_TRIGGER_NONE;
	sConfig.DAC_OutputBuffer = DAC_OUTPUTBUFFER_DISABLE;
	sConfig.DAC_ConnectOnChipPeripheral = DAC_CHIPCONNECT_ENABLE;
	sConfig.DAC_UserTrimming = DAC_TRIMMING_FACTORY;
	if (HAL_DAC_ConfigChannel(&hdac1, &sConfig, DAC_CHANNEL_1) != HAL_OK) {
		Error_Handler();
	}

}

static void MX_TIM1_Init(void) {

	TIM_ClearInputConfigTypeDef sClearInputConfig = { 0 };
	TIM_MasterConfigTypeDef sMasterConfig = { 0 };
	TIM_OC_InitTypeDef sConfigOC = { 0 };
	TIM_BreakDeadTimeConfigTypeDef sBreakDeadTimeConfig = { 0 };

	htim1.Instance = TIM1;
	htim1.Init.Prescaler = 0;
	htim1.Init.CounterMode = TIM_COUNTERMODE_UP;
	htim1.Init.Period = 320;
	htim1.Init.ClockDivision = TIM_CLOCKDIVISION_DIV1;
	htim1.Init.RepetitionCounter = 0;
	htim1.Init.AutoReloadPreload = TIM_AUTORELOAD_PRELOAD_ENABLE;
	if (HAL_TIM_PWM_Init(&htim1) != HAL_OK) {
		Error_Handler();
	}
	sClearInputConfig.ClearInputState = ENABLE;
	sClearInputConfig.ClearInputSource = TIM_CLEARINPUTSOURCE_COMP2;
	if (HAL_TIM_ConfigOCrefClear(&htim1, &sClearInputConfig, TIM_CHANNEL_1)
			!= HAL_OK) {
		Error_Handler();
	}
	sMasterConfig.MasterOutputTrigger = TIM_TRGO_RESET;
	sMasterConfig.MasterOutputTrigger2 = TIM_TRGO2_RESET;
	sMasterConfig.MasterSlaveMode = TIM_MASTERSLAVEMODE_DISABLE;
	if (HAL_TIMEx_MasterConfigSynchronization(&htim1, &sMasterConfig)
			!= HAL_OK) {
		Error_Handler();
	}
	sConfigOC.OCMode = TIM_OCMODE_PWM1;
	sConfigOC.Pulse = 0;
	sConfigOC.OCPolarity = TIM_OCPOLARITY_HIGH;
	sConfigOC.OCNPolarity = TIM_OCNPOLARITY_HIGH;
	sConfigOC.OCFastMode = TIM_OCFAST_DISABLE;
	sConfigOC.OCIdleState = TIM_OCIDLESTATE_RESET;
	sConfigOC.OCNIdleState = TIM_OCNIDLESTATE_RESET;
	if (HAL_TIM_PWM_ConfigChannel(&htim1, &sConfigOC, TIM_CHANNEL_1)
			!= HAL_OK) {
		Error_Handler();
	}
	sBreakDeadTimeConfig.OffStateRunMode = TIM_OSSR_DISABLE;
	sBreakDeadTimeConfig.OffStateIDLEMode = TIM_OSSI_DISABLE;
	sBreakDeadTimeConfig.LockLevel = TIM_LOCKLEVEL_OFF;
	sBreakDeadTimeConfig.DeadTime = 0;
	sBreakDeadTimeConfig.BreakState = TIM_BREAK_DISABLE;
	sBreakDeadTimeConfig.BreakPolarity = TIM_BREAKPOLARITY_HIGH;
	sBreakDeadTimeConfig.BreakFilter = 0;
	sBreakDeadTimeConfig.BreakAFMode = TIM_BREAK_AFMODE_INPUT;
	sBreakDeadTimeConfig.Break2State = TIM_BREAK2_DISABLE;
	sBreakDeadTimeConfig.Break2Polarity = TIM_BREAK2POLARITY_HIGH;
	sBreakDeadTimeConfig.Break2Filter = 0;
	sBreakDeadTimeConfig.Break2AFMode = TIM_BREAK_AFMODE_INPUT;
	sBreakDeadTimeConfig.AutomaticOutput = TIM_AUTOMATICOUTPUT_DISABLE;
	if (HAL_TIMEx_ConfigBreakDeadTime(&htim1, &sBreakDeadTimeConfig)
			!= HAL_OK) {
		Error_Handler();
	}
	HAL_TIM_MspPostInit(&htim1);

}

static void MX_TIM3_Init(void) {

	TIM_SlaveConfigTypeDef sSlaveConfig = { 0 };
	TIM_IC_InitTypeDef sConfigIC = { 0 };
	TIM_MasterConfigTypeDef sMasterConfig = { 0 };

	htim3.Instance = TIM3;
	htim3.Init.Prescaler = 0;
	htim3.Init.CounterMode = TIM_COUNTERMODE_UP;
	htim3.Init.Period = 65535;
	htim3.Init.ClockDivision = TIM_CLOCKDIVISION_DIV1;
	htim3.Init.AutoReloadPreload = TIM_AUTORELOAD_PRELOAD_DISABLE;
	if (HAL_TIM_IC_Init(&htim3) != HAL_OK) {
		Error_Handler();
	}
	sSlaveConfig.SlaveMode = TIM_SLAVEMODE_RESET;
	sSlaveConfig.InputTrigger = TIM_TS_TI2FP2;
	sSlaveConfig.TriggerPolarity = TIM_INPUTCHANNELPOLARITY_RISING;
	sSlaveConfig.TriggerPrescaler = TIM_ICPSC_DIV1;
	sSlaveConfig.TriggerFilter = 0;
	if (HAL_TIM_SlaveConfigSynchro(&htim3, &sSlaveConfig) != HAL_OK) {
		Error_Handler();
	}
	sConfigIC.ICPolarity = TIM_INPUTCHANNELPOLARITY_FALLING;
	sConfigIC.ICSelection = TIM_ICSELECTION_INDIRECTTI;
	sConfigIC.ICPrescaler = TIM_ICPSC_DIV1;
	sConfigIC.ICFilter = 0;
	if (HAL_TIM_IC_ConfigChannel(&htim3, &sConfigIC, TIM_CHANNEL_1) != HAL_OK) {
		Error_Handler();
	}
	sConfigIC.ICPolarity = TIM_INPUTCHANNELPOLARITY_RISING;
	sConfigIC.ICSelection = TIM_ICSELECTION_DIRECTTI;
	if (HAL_TIM_IC_ConfigChannel(&htim3, &sConfigIC, TIM_CHANNEL_2) != HAL_OK) {
		Error_Handler();
	}
	sMasterConfig.MasterOutputTrigger = TIM_TRGO_RESET;
	sMasterConfig.MasterSlaveMode = TIM_MASTERSLAVEMODE_DISABLE;
	if (HAL_TIMEx_MasterConfigSynchronization(&htim3, &sMasterConfig)
			!= HAL_OK) {
		Error_Handler();
	}

}

static void MX_TIM6_Init(void) {

	TIM_MasterConfigTypeDef sMasterConfig = { 0 };

	htim6.Instance = TIM6;
	htim6.Init.Prescaler = 16;
	htim6.Init.CounterMode = TIM_COUNTERMODE_UP;
	htim6.Init.Period = 1000;
	htim6.Init.AutoReloadPreload = TIM_AUTORELOAD_PRELOAD_DISABLE;
	if (HAL_TIM_Base_Init(&htim6) != HAL_OK) {
		Error_Handler();
	}
	sMasterConfig.MasterOutputTrigger = TIM_TRGO_UPDATE;
	sMasterConfig.MasterSlaveMode = TIM_MASTERSLAVEMODE_DISABLE;
	if (HAL_TIMEx_MasterConfigSynchronization(&htim6, &sMasterConfig)
			!= HAL_OK) {
		Error_Handler();
	}

}

static void MX_TIM16_Init(void) {

	htim16.Instance = TIM16;
	htim16.Init.Prescaler = 0;
	htim16.Init.CounterMode = TIM_COUNTERMODE_UP;
	htim16.Init.Period = 65535;
	htim16.Init.ClockDivision = TIM_CLOCKDIVISION_DIV1;
	htim16.Init.RepetitionCounter = 0;
	htim16.Init.AutoReloadPreload = TIM_AUTORELOAD_PRELOAD_DISABLE;
	if (HAL_TIM_Base_Init(&htim16) != HAL_OK) {
		Error_Handler();
	}

}

static void MX_USART2_UART_Init(void) {

	huart2.Instance = USART2;
	huart2.Init.BaudRate = 9600;
	huart2.Init.WordLength = UART_WORDLENGTH_8B;
	huart2.Init.StopBits = UART_STOPBITS_1;
	huart2.Init.Parity = UART_PARITY_NONE;
	huart2.Init.Mode = UART_MODE_TX_RX;
	huart2.Init.HwFlowCtl = UART_HWCONTROL_NONE;
	huart2.Init.OverSampling = UART_OVERSAMPLING_16;
	huart2.Init.OneBitSampling = UART_ONE_BIT_SAMPLE_DISABLE;
	huart2.Init.ClockPrescaler = UART_PRESCALER_DIV1;
	huart2.AdvancedInit.AdvFeatureInit = UART_ADVFEATURE_NO_INIT;
	if (HAL_UART_Init(&huart2) != HAL_OK) {
		Error_Handler();
	}
	if (HAL_UARTEx_SetTxFifoThreshold(&huart2, UART_TXFIFO_THRESHOLD_1_8)
			!= HAL_OK) {
		Error_Handler();
	}
	if (HAL_UARTEx_SetRxFifoThreshold(&huart2, UART_RXFIFO_THRESHOLD_1_8)
			!= HAL_OK) {
		Error_Handler();
	}
	if (HAL_UARTEx_DisableFifoMode(&huart2) != HAL_OK) {
		Error_Handler();
	}

}

static void MX_DMA_Init(void) {

	/* DMA controller clock enable */
	__HAL_RCC_DMA1_CLK_ENABLE();

	/* DMA interrupt init */
	/* DMA1_Channel1_IRQn interrupt configuration */
	HAL_NVIC_SetPriority(DMA1_Channel1_IRQn, 0, 0);
	HAL_NVIC_EnableIRQ(DMA1_Channel1_IRQn);

}

static void MX_GPIO_Init(void) {
	GPIO_InitTypeDef GPIO_InitStruct = { 0 };

	/* GPIO Ports Clock Enable */
	__HAL_RCC_GPIOB_CLK_ENABLE();
	__HAL_RCC_GPIOC_CLK_ENABLE();
	__HAL_RCC_GPIOA_CLK_ENABLE();

	/*Configure GPIO pin Output Level */
	HAL_GPIO_WritePin(GPIOC, LED2_Pin | LED_Pin | OCP_Reset_Pin,
			GPIO_PIN_RESET);

	/*Configure GPIO pin Output Level */
	HAL_GPIO_WritePin(GPIOA, GPIO_PIN_4 | Status_Pin, GPIO_PIN_RESET);

	/*Configure GPIO pin : MCU_Remote_Pin */
	GPIO_InitStruct.Pin = MCU_Remote_Pin;
	GPIO_InitStruct.Mode = GPIO_MODE_INPUT;
	GPIO_InitStruct.Pull = GPIO_PULLUP;
	HAL_GPIO_Init(MCU_Remote_GPIO_Port, &GPIO_InitStruct);

	/*Configure GPIO pins : LED2_Pin LED_Pin OCP_Reset_Pin */
	GPIO_InitStruct.Pin = LED2_Pin | LED_Pin | OCP_Reset_Pin;
	GPIO_InitStruct.Mode = GPIO_MODE_OUTPUT_PP;
	GPIO_InitStruct.Pull = GPIO_NOPULL;
	GPIO_InitStruct.Speed = GPIO_SPEED_FREQ_LOW;
	HAL_GPIO_Init(GPIOC, &GPIO_InitStruct);

	/*Configure GPIO pins : PA4 Status_Pin */
	GPIO_InitStruct.Pin = GPIO_PIN_4 | Status_Pin;
	GPIO_InitStruct.Mode = GPIO_MODE_OUTPUT_PP;
	GPIO_InitStruct.Pull = GPIO_NOPULL;
	GPIO_InitStruct.Speed = GPIO_SPEED_FREQ_LOW;
	HAL_GPIO_Init(GPIOA, &GPIO_InitStruct);

	/*Configure GPIO pins : OCP_Pin PotiSelect_Pin */
	GPIO_InitStruct.Pin = OCP_Pin | PotiSelect_Pin;
	GPIO_InitStruct.Mode = GPIO_MODE_INPUT;
	GPIO_InitStruct.Pull = GPIO_NOPULL;
	HAL_GPIO_Init(GPIOA, &GPIO_InitStruct);

}

void Error_Handler(void) {
	/* USER CODE BEGIN Error_Handler_Debug */
	/* User can add his own implementation to report the HAL error return state */
	__disable_irq();
	while (1) {
		HAL_GPIO_TogglePin(GPIOC, GPIO_PIN_15);
		HAL_Delay(500);
	}
	/* USER CODE END Error_Handler_Debug */
}
